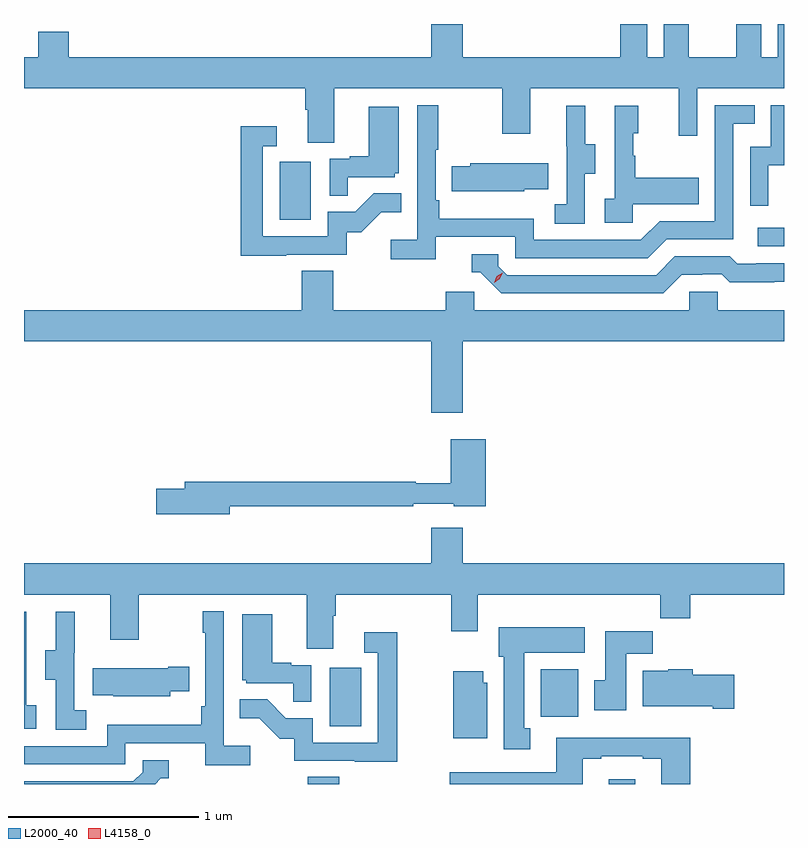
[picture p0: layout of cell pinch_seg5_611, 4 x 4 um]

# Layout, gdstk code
import gdstk
lib = gdstk.Library(unit=1e-6, precision=1e-09)
def R(c, l, rs):  # rectangles x0, y0, x1, y1
    for r in rs: c.add(gdstk.rectangle(r[:2], r[2:], *l))
def P(c, l, *ps):  # polygons
    for p in ps: c.add(gdstk.Polygon(p, *l))
L2000_40 = (2000, 40)
L4158_0 = (4158, 0)

pinch_seg5_611 = lib.new_cell('pinch_seg5_611')
R(pinch_seg5_611, L2000_40, [(1039.481,853.099,1039.646,853.136), (1041.065,853.099,1041.205,853.123), (1039.598,853.404,1039.762,853.711), (1040.709,853.452,1040.905,853.702), (1041.849,855.93,1041.988,856.026), (1039.334,856.068,1039.498,856.375)])
P(pinch_seg5_611, L2000_40, [(1041.434,856.512),(1041.531,856.512),(1041.531,856.76),(1041.988,856.76),(1041.988,857.099),(1041.956,857.099),(1041.956,856.924),(1041.868,856.924),(1041.868,857.099),(1041.737,857.099),(1041.737,856.924),(1041.487,856.924),(1041.487,857.099),(1041.356,857.099),(1041.356,856.924),(1041.268,856.924),(1041.268,857.099),(1041.125,857.099),(1041.125,856.924),(1040.296,856.924),(1040.296,857.099),(1040.132,857.099),(1040.132,856.924),(1038.224,856.924),(1038.224,857.059),(1038.064,857.059),(1038.064,856.924),(1037.988,856.924),(1037.988,856.76),(1039.469,856.76),(1039.469,856.648),(1039.481,856.648),(1039.481,856.474),(1039.621,856.474),(1039.621,856.76),(1040.506,856.76),(1040.506,856.521),(1040.653,856.521),(1040.653,856.76),(1041.434,856.76)],
  [(1040.156,855.978),(1040.574,855.978),(1040.574,855.867),(1041.271,855.867),(1041.37,855.966),(1041.72,855.966),(1041.72,856.575),(1041.833,856.575),(1041.833,856.671),(1041.624,856.671),(1041.624,856.062),(1041.333,856.062),(1041.234,855.963),(1040.67,855.963),(1040.67,856.075),(1040.174,856.075),(1040.174,856.171),(1040.154,856.171),(1040.154,856.438),(1040.167,856.438),(1040.167,856.672),(1040.058,856.672),(1040.058,855.964),(1039.917,855.964),(1039.917,855.862),(1040.156,855.862)],
  [(1041.906,856.355),(1041.988,856.355),(1041.988,856.671),(1041.918,856.671),(1041.918,856.452),(1041.81,856.452),(1041.81,856.143),(1041.906,856.143)],
  [(1041.192,856.151),(1041.539,856.151),(1041.539,856.291),(1041.205,856.291),(1041.205,856.406),(1041.195,856.406),(1041.195,856.524),(1041.22,856.524),(1041.22,856.669),(1041.096,856.669),(1041.096,856.178),(1041.045,856.178),(1041.045,856.053),(1041.192,856.053)],
  [(1040.94,856.312),(1040.995,856.312),(1040.995,856.467),(1040.941,856.467),(1040.941,856.669),(1040.843,856.669),(1040.843,856.455),(1040.844,856.455),(1040.844,856.151),(1040.781,856.151),(1040.781,856.048),(1040.94,856.048)],
  [(1039.691,856.293),(1039.938,856.293),(1039.938,856.314),(1039.96,856.314),(1039.96,856.663),(1039.802,856.663),(1039.802,856.402),(1039.703,856.402),(1039.703,856.389),(1039.596,856.389),(1039.596,856.195),(1039.691,856.195)],
  [(1039.367,855.885),(1039.686,855.885),(1039.686,856.002),(1039.762,856.002),(1039.869,856.109),(1039.973,856.109),(1039.973,856.208),(1039.829,856.208),(1039.731,856.11),(1039.587,856.11),(1039.587,855.981),(1039.245,855.981),(1039.245,856.455),(1039.318,856.455),(1039.318,856.561),(1039.129,856.561),(1039.129,855.88),(1039.367,855.88)],
  [(1040.622,856.229),(1040.747,856.229),(1040.747,856.366),(1040.337,856.366),(1040.337,856.35),(1040.239,856.35),(1040.239,856.22),(1040.622,856.22)],
  [(1041.451,855.78),(1041.558,855.78),(1041.558,855.783),(1041.661,855.783),(1041.703,855.741),(1041.936,855.741),(1041.936,855.743),(1041.988,855.743),(1041.988,855.84),(1041.841,855.84),(1041.841,855.837),(1041.742,855.837),(1041.703,855.876),(1041.414,855.876),(1041.315,855.777),(1040.532,855.777),(1040.484,855.825),(1040.484,855.888),(1040.345,855.888),(1040.345,855.792),(1040.388,855.792),(1040.499,855.681),(1041.352,855.681)],
  [(1040.296,855.428),(1041.988,855.428),(1041.988,855.592),(1041.639,855.592),(1041.639,855.69),(1041.489,855.69),(1041.489,855.592),(1040.358,855.592),(1040.358,855.69),(1040.207,855.69),(1040.207,855.592),(1039.616,855.592),(1039.616,855.8),(1039.451,855.8),(1039.451,855.592),(1037.988,855.592),(1037.988,855.428),(1040.132,855.428),(1040.132,855.054),(1040.296,855.054)],
  [(1039.072,854.562),(1040.036,854.562),(1040.036,854.574),(1040.25,854.574),(1040.25,854.561),(1040.417,854.561),(1040.417,854.914),(1040.234,854.914),(1040.234,854.683),(1040.05,854.683),(1040.05,854.69),(1038.833,854.69),(1038.833,854.654),(1038.684,854.654),(1038.684,854.519),(1039.072,854.519)],
  [(1039.615,853.984),(1039.628,853.984),(1039.628,854.096),(1040.237,854.096),(1040.237,853.902),(1040.377,853.902),(1040.377,854.096),(1041.337,854.096),(1041.337,853.972),(1041.494,853.972),(1041.494,854.096),(1041.988,854.096),(1041.988,854.26),(1040.296,854.26),(1040.296,854.449),(1040.132,854.449),(1040.132,854.26),(1037.988,854.26),(1037.988,854.096),(1038.443,854.096),(1038.443,853.857),(1038.591,853.857),(1038.591,854.096),(1039.475,854.096),(1039.475,853.81),(1039.615,853.81)],
  [(1039.18,853.3),(1039.038,853.3),(1039.038,854.008),(1038.93,854.008),(1038.93,853.895),(1038.942,853.895),(1038.942,853.507),(1038.922,853.507),(1038.922,853.411),(1038.426,853.411),(1038.426,853.299),(1037.988,853.299),(1037.988,853.203),(1038.522,853.203),(1038.522,853.314),(1038.941,853.314),(1038.941,853.198),(1039.18,853.198)],
  [(1038.052,853.514),(1038,853.514),(1038,854.005),(1037.988,854.005),(1037.988,853.389),(1038.052,853.389)],
  [(1038.316,853.487),(1038.252,853.487),(1038.252,853.791),(1038.254,853.791),(1038.254,854.005),(1038.155,854.005),(1038.155,853.803),(1038.101,853.803),(1038.101,853.648),(1038.156,853.648),(1038.156,853.384),(1038.316,853.384)],
  [(1039.5,853.725),(1039.394,853.725),(1039.394,853.738),(1039.294,853.738),(1039.294,853.993),(1039.136,853.993),(1039.136,853.644),(1039.158,853.644),(1039.158,853.629),(1039.405,853.629),(1039.405,853.531),(1039.5,853.531)],
  [(1040.653,853.393),(1040.62,853.393),(1040.62,853.79),(1040.938,853.79),(1040.938,853.924),(1040.486,853.924),(1040.486,853.77),(1040.513,853.77),(1040.513,853.281),(1040.653,853.281)],
  [(1041.157,853.784),(1041.296,853.784),(1041.296,853.903),(1041.047,853.903),(1041.047,853.644),(1040.99,853.644),(1040.99,853.488),(1041.157,853.488)],
  [(1039.952,853.897),(1039.779,853.897),(1039.779,853.791),(1039.851,853.791),(1039.851,853.317),(1039.509,853.317),(1039.509,853.446),(1039.365,853.446),(1039.267,853.544),(1039.123,853.544),(1039.123,853.445),(1039.227,853.445),(1039.334,853.338),(1039.411,853.338),(1039.411,853.221),(1039.729,853.221),(1039.729,853.216),(1039.952,853.216)],
  [(1038.759,853.586),(1038.857,853.586),(1038.857,853.716),(1038.746,853.716),(1038.746,853.708),(1038.349,853.708),(1038.349,853.565),(1038.457,853.565),(1038.457,853.562),(1038.759,853.562)],
  [(1041.727,853.674),(1041.509,853.674),(1041.509,853.702),(1041.378,853.702),(1041.378,853.696),(1041.245,853.696),(1041.245,853.508),(1041.614,853.508),(1041.614,853.496),(1041.727,853.496)],
  [(1040.425,853.632),(1040.404,853.632),(1040.404,853.693),(1040.246,853.693),(1040.246,853.34),(1040.425,853.34)],
  [(1040.929,853.233),(1041.025,853.233),(1041.025,853.245),(1041.245,853.245),(1041.245,853.233),(1041.341,853.233),(1041.341,853.099),(1041.494,853.099),(1041.494,853.342),(1040.789,853.342),(1040.789,853.161),(1040.228,853.161),(1040.228,853.099),(1040.929,853.099)],
  [(1038.708,853.128),(1038.751,853.128),(1038.751,853.224),(1038.612,853.224),(1038.612,853.161),(1038.564,853.113),(1037.988,853.113),(1037.988,853.099),(1038.679,853.099)])
P(pinch_seg5_611, L4158_0, [(1040.462,855.738),(1040.462,855.738),(1040.477,855.771),(1040.507,855.791),(1040.508,855.791),(1040.508,855.791),(1040.492,855.758),(1040.462,855.738)])

lib.write_gds('pinch_seg5_611.gds')
